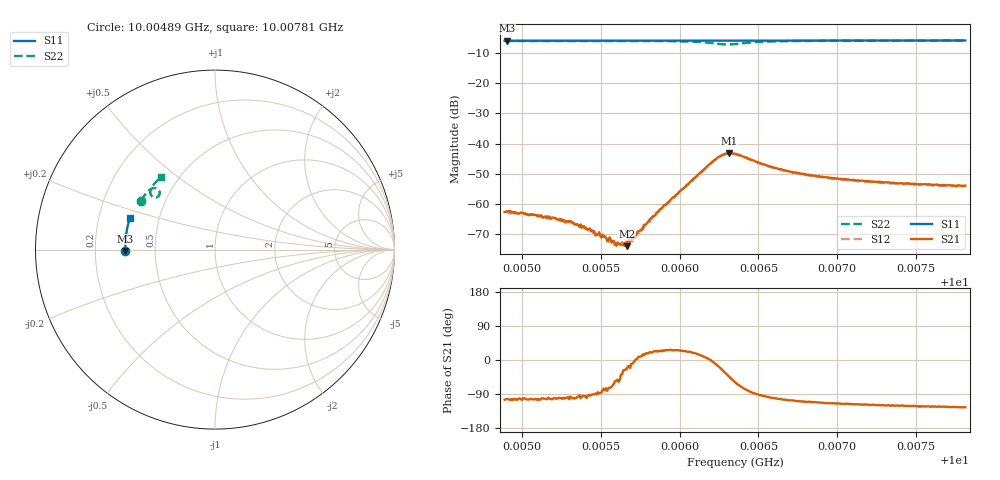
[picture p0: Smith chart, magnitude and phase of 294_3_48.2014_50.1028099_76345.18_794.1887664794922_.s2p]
#  HZ  S  RI  R  50.00
! Rohde & Schwarz Vector Network Analyzer
! Rohde-Schwarz,ZNB20-2Port,1311601062101988,3.16
! Created: UTC 3/20/2024, 11:49:12 AM
! freq[Hz]  re:S11  im:S11  re:S21  im:S21  re:S12  im:S12  re:S22  im:S22
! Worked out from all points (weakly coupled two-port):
!   401 points, 10.00489 GHz to 10.00781 GHz, reference 50 ohm
!   highest |S21| = -43.14 dB at 10.00632 GHz (marker M1); lowest = -73.9 dB at 10.00567 GHz (marker M2)
!   lowest |S11| = -6.0 dB at 10.00491 GHz (marker M3), VSWR 2.99, Z = 16.7 - j0.368 ohm
!   |S11| at or under -10 dB: nowhere
!   |S22| runs from -7.3 to -6.0 dB; largest |S21 - S12| = 0.00039
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1.0004891e10  -0.4993 -0.00919  -0.000189 -0.000716  -0.000127 -0.000739  -0.4129 0.2716
1.0004906e10  -0.4993 -0.00828  -0.000171 -0.000727  -0.000113 -0.000757  -0.4125 0.2724
1.0005183e10  -0.4999 0.00971  -0.000123 -0.000568  -8.82e-05 -0.000556  -0.4021 0.2888
1.0005307e10  -0.5 0.0178  -5.93e-05 -0.000522  -3.47e-05 -0.00047  -0.3971 0.2963
1.000538e10  -0.4997 0.0226  -4.78e-05 -0.000402  -3.44e-05 -0.000438  -0.394 0.3006
1.0005475e10  -0.4997 0.0287  -5.85e-06 -0.000318  2.78e-05 -0.000335  -0.3898 0.3065
1.0005556e10  -0.4996 0.034  8.3e-05 -0.000271  0.000119 -0.000234  -0.3859 0.3113
1.000557e10  -0.4996 0.0349  7.81e-05 -0.000218  7.21e-05 -0.000223  -0.3853 0.3122
1.0005585e10  -0.4994 0.0359  0.000115 -0.000217  0.000107 -0.000186  -0.3844 0.3131
1.0005636e10  -0.4993 0.0391  0.000166 -0.000131  0.000206 -0.000123  -0.3817 0.3163
1.0005665e10  -0.4993 0.0411  0.000184 -8.44e-05  0.000223 -8.84e-05  -0.3802 0.3181
1.0005702e10  -0.4992 0.0434  0.000258 -4.1e-05  0.00024 -3.5e-05  -0.3779 0.3204
1.0005724e10  -0.4991 0.0448  0.00031 9.45e-06  0.000332 3.67e-05  -0.3767 0.3218
1.000587e10  -0.4983 0.0543  0.000719 0.000327  0.000673 0.000363  -0.3664 0.3313
1.0006206e10  -0.4959 0.0758  0.00497 -0.000251  0.00486 -4.7e-05  -0.3138 0.3326
1.0006264e10  -0.4952 0.0795  0.00588 -0.00255  0.00585 -0.00218  -0.308 0.3119
1.0006315e10  -0.4948 0.0825  0.00498 -0.00488  0.00506 -0.00452  -0.3196 0.2941
1.0006352e10  -0.4946 0.0847  0.00352 -0.00579  0.00377 -0.00549  -0.3335 0.2901
1.00066e10  -0.4926 0.1006  -0.00076 -0.00394  -0.000536 -0.00391  -0.3595 0.3294
1.0006841e10  -0.4898 0.116  -0.00108 -0.00279  -0.000926 -0.00277  -0.3491 0.3523
1.000733e10  -0.4825 0.1467  -0.00114 -0.00197  -0.000996 -0.00197  -0.3246 0.3814
1.0007812e10  -0.4735 0.1764  -0.00115 -0.00167  -0.00104 -0.00167  -0.3003 0.404
